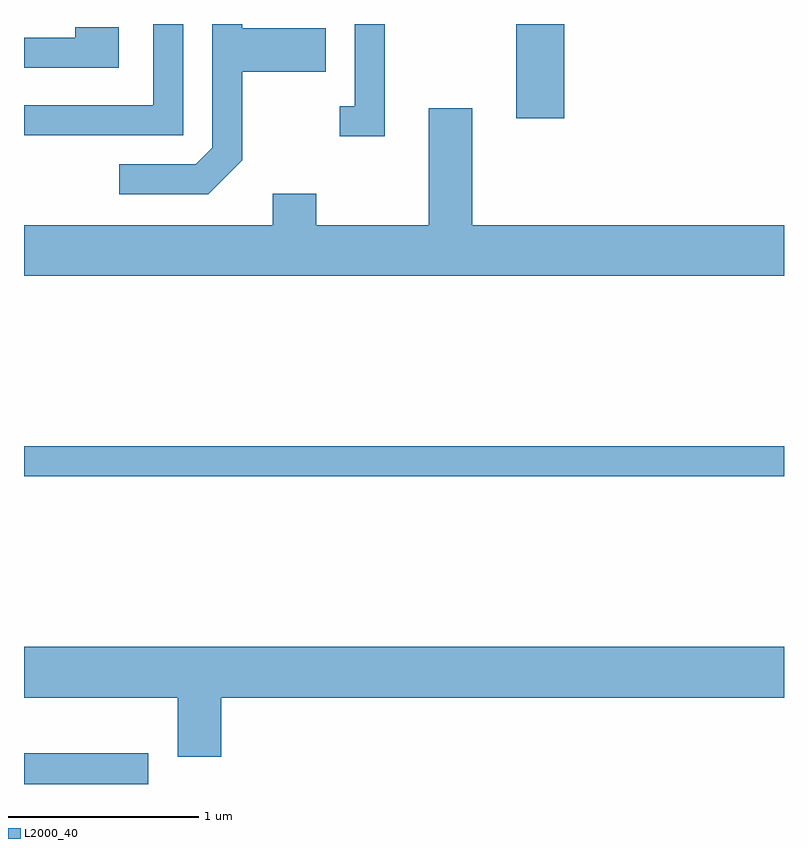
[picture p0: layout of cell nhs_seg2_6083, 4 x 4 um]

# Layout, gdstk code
import gdstk
lib = gdstk.Library(unit=1e-6, precision=1e-09)
def R(c, l, rs):  # rectangles x0, y0, x1, y1
    for r in rs: c.add(gdstk.rectangle(r[:2], r[2:], *l))
def P(c, l, *ps):  # polygons
    for p in ps: c.add(gdstk.Polygon(p, *l))
L2000_40 = (2000, 40)

nhs_seg2_6083 = lib.new_cell('nhs_seg2_6083')
R(nhs_seg2_6083, L2000_40, [(363.611,1107.802,364.264,1107.964), (363.611,1109.421,367.611,1109.579), (366.201,1111.306,366.454,1111.802)])
P(nhs_seg2_6083, L2000_40, [(364.759,1111.084),(364.759,1111.551),(365.199,1111.551),(365.199,1111.779),(364.759,1111.779),(364.759,1111.802),(364.601,1111.802),(364.601,1111.152),(364.514,1111.064),(364.113,1111.064),(364.113,1110.906),(364.582,1110.906)],
  [(364.449,1111.802),(364.291,1111.802),(364.291,1111.374),(363.611,1111.374),(363.611,1111.216),(364.449,1111.216)],
  [(365.509,1111.802),(365.351,1111.802),(365.351,1111.369),(365.273,1111.369),(365.273,1111.211),(365.509,1111.211)],
  [(364.109,1111.784),(363.881,1111.784),(363.881,1111.729),(363.611,1111.729),(363.611,1111.571),(364.109,1111.571)],
  [(367.611,1110.744),(365.969,1110.744),(365.969,1111.359),(365.741,1111.359),(365.741,1110.744),(365.149,1110.744),(365.149,1110.909),(364.921,1110.909),(364.921,1110.744),(363.611,1110.744),(363.611,1110.476),(367.611,1110.476)],
  [(364.649,1108.256),(367.611,1108.256),(367.611,1108.524),(363.611,1108.524),(363.611,1108.256),(364.421,1108.256),(364.421,1107.946),(364.649,1107.946)])

lib.write_gds('nhs_seg2_6083.gds')
